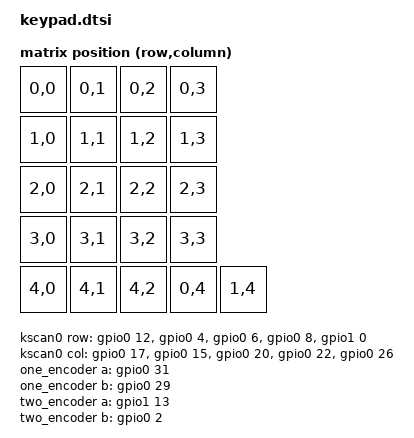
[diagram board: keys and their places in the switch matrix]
/*
 * Copyright (c) 2021 The ZMK Contributors
 *
 * SPDX-License-Identifier: MIT
 */

#include <dt-bindings/zmk/matrix_transform.h>
#include <dt-bindings/led/led.h>
#include "keypad-layouts.dtsi"
#include <dt-bindings/pwm/pwm.h>
/ {
    chosen {
        zmk,kscan = &kscan0;
        zmk,physical-layout = &physical_layout0;
        zmk,underglow = &led_strip;
        zmk,battery = &vbatt;
    };

    default_transform: keymap_transform_0 {
        compatible = "zmk,matrix-transform";
        columns = <5>;
        rows = <5>;
        map = <
            RC(0,0) RC(0,1) RC(0,2) RC(0,3) 
            RC(1,0) RC(1,1) RC(1,2) RC(1,3) 
            RC(2,0) RC(2,1) RC(2,2) RC(2,3) 
            RC(3,0) RC(3,1) RC(3,2) RC(3,3)
            RC(4,0) RC(4,1) RC(4,2) RC(0,4) RC(1,4) 
        >;
    };

    kscan0: kscan {
        compatible = "zmk,kscan-gpio-matrix";

        diode-direction = "col2row";
		col-gpios
			= <&gpio0 17 GPIO_ACTIVE_HIGH>
			, <&gpio0 15 GPIO_ACTIVE_HIGH>
			, <&gpio0 20 GPIO_ACTIVE_HIGH>
			, <&gpio0 22 GPIO_ACTIVE_HIGH>
      		, <&gpio0 26 GPIO_ACTIVE_HIGH>
			;
		row-gpios
			= <&gpio0 12 (GPIO_ACTIVE_HIGH | GPIO_PULL_DOWN)>
			, <&gpio0 4 (GPIO_ACTIVE_HIGH | GPIO_PULL_DOWN)>
			, <&gpio0 6 (GPIO_ACTIVE_HIGH | GPIO_PULL_DOWN)>
			, <&gpio0 8 (GPIO_ACTIVE_HIGH | GPIO_PULL_DOWN)>
			, <&gpio1 0 (GPIO_ACTIVE_HIGH | GPIO_PULL_DOWN)>
			;

    };



    one_encoder: encoder_one {
        compatible = "alps,ec11";
        a-gpios = <&gpio0 31 (GPIO_ACTIVE_HIGH | GPIO_PULL_UP)>;
        b-gpios = <&gpio0 29 (GPIO_ACTIVE_HIGH | GPIO_PULL_UP)>;
        steps = <80>;
        status = "okay";
    };

    two_encoder: encoder_two {
        compatible = "alps,ec11";
        a-gpios = <&gpio1 13 (GPIO_ACTIVE_HIGH | GPIO_PULL_UP)>;
        b-gpios = <&gpio0 2 (GPIO_ACTIVE_HIGH | GPIO_PULL_UP)>;
        steps = <80>;
        status = "okay";
    };

    three_encoder: encoder_three {
        compatible = "alps,ec11";
        a-gpios = <&gpio0 28 (GPIO_ACTIVE_HIGH | GPIO_PULL_UP)>;
        b-gpios = <&gpio0 3 (GPIO_ACTIVE_HIGH | GPIO_PULL_UP)>;
        steps = <80>;
        status = "okay";
    };

    sensors: sensors {
        compatible = "zmk,keymap-sensors";
        sensors = <&one_encoder &two_encoder &three_encoder>;
        triggers-per-rotation = <20>;
};


   EXT_POWER {
  	  compatible = "zmk,ext-power-generic";
      control-gpios = <&gpio1 9 GPIO_ACTIVE_HIGH>;
      init-delay-ms = <50>;
   };

     vbatt: vbatt {
        compatible = "zmk,battery-nrf-vddh";
    };

};

&pinctrl {
   
    spi3_default: spi3_default {
        group1 {
            psels = <NRF_PSEL(SPIM_MOSI, 0, 7)>; // WS2812_VEXT_DATA
        };
    };

    spi3_sleep: spi3_sleep {
        group1 {
            psels = <NRF_PSEL(SPIM_MOSI, 0, 7)>;
            low-power-enable;
        };
    };
};

&uart0 {
	status = "disabled";
};

&spi3 {
	compatible = "nordic,nrf-spim";
	status = "okay";

	pinctrl-0 = <&spi3_default>;
	pinctrl-1 = <&spi3_sleep>;
	pinctrl-names = "default", "sleep";


	led_strip: ws2812@0 {
		compatible = "worldsemi,ws2812-spi";

		status = "okay";
		/* SPI */
		reg = <0>; /* ignored, but necessary for SPI bindings */
		spi-max-frequency = <4000000>;

		/* WS2812 */
		chain-length = <17>; /* There are per-key RGB, but the first 6 are underglow */
		spi-one-frame = <0x70>;
		spi-zero-frame = <0x40>;
		color-mapping = <LED_COLOR_ID_GREEN LED_COLOR_ID_RED LED_COLOR_ID_BLUE>;
	};
};
/ {
    aliases {
        pwm-red = &pwm_led_red;
        pwm-green = &pwm_led_green;
        pwm-blue = &pwm_led_blue;
    };

    pwm-leds {
        compatible = "pwm-leds";
        
        pwm_led_red: pwm-led-red {
            pwms = <&pwm0 0 PWM_MSEC(1) PWM_POLARITY_NORMAL>;
            label = "PWM RGB Red LED";
        };
        
        pwm_led_green: pwm-led-green {
            pwms = <&pwm0 1 PWM_MSEC(1) PWM_POLARITY_NORMAL>;
            label = "PWM RGB Green LED";
        };
        
        pwm_led_blue: pwm-led-blue {
            pwms = <&pwm0 2 PWM_MSEC(1) PWM_POLARITY_NORMAL>;
            label = "PWM RGB Blue LED";
        };
    };
};

&pwm0 {
    status = "okay";
};

&pinctrl {
    pwm0_default: pwm0_default {
        group1 {
            psels = <NRF_PSEL(PWM_OUT0, 1, 2)>,  // P1.02 (红色阳极)
                    <NRF_PSEL(PWM_OUT1, 1, 4)>,  // P1.04 (绿色阳极)
                    <NRF_PSEL(PWM_OUT2, 1, 6)>;  // P1.06 (蓝色阳极)
        };
    };
    
    pwm0_sleep: pwm0_sleep {
        group1 {
            psels = <NRF_PSEL(PWM_OUT0, 1, 2)>,
                    <NRF_PSEL(PWM_OUT1, 1, 4)>,
                    <NRF_PSEL(PWM_OUT2, 1, 6)>;
            low-power-enable;
        };
    };
};
/ {
    // Existing keyboard config...

    // Add a LED node here if not already defined by the board
    leds {
        compatible = "gpio-leds";
        status_led: status_led {
            gpios = <&gpio1 10 GPIO_ACTIVE_HIGH>; // Replace X and Y with your GPIO pin
            label = "Status LED";
        };
    };
    
    status_led_device: status_led_device {
        compatible = "zmk,status-led";
        led = <&status_led>;
    };
};

